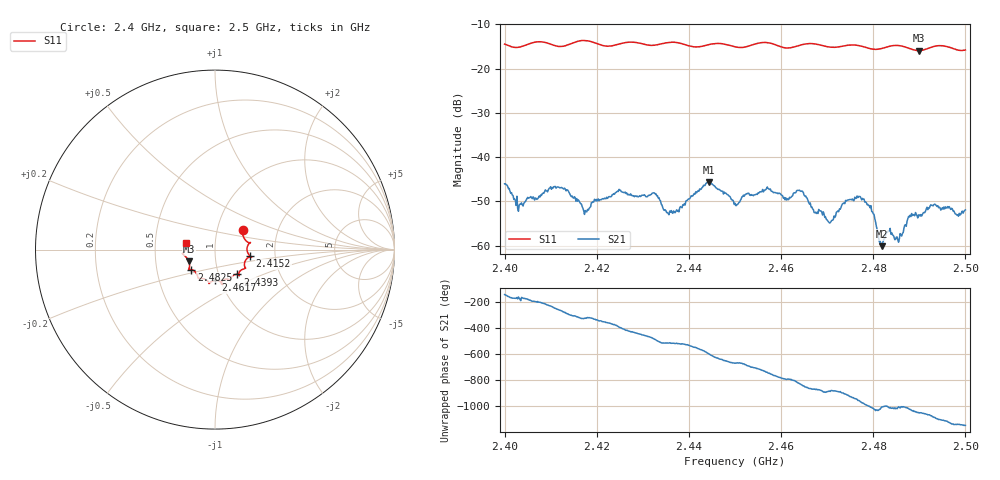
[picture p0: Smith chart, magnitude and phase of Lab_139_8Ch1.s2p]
# Hz S RI R 50
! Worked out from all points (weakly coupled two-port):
!   601 points, 2.4 GHz to 2.5 GHz, reference 50 ohm
!   highest |S21| = -45.67 dB at 2.4443 GHz (marker M1); lowest = -60.1 dB at 2.4818 GHz (marker M2)
!   lowest |S11| = -15.9 dB at 2.4898 GHz (marker M3), VSWR 1.38, Z = 36.9 - j4.91 ohm
!   |S11| at or under -10 dB: start of sweep to end of sweep
!   S12 and S22 are empty: the file has one direction only
!   S11 on the Smith chart (normalised r, x): 2.4 GHz: 1.33, +0.30; 2.4152 GHz: 1.48, -0.11; 2.4393 GHz: 1.23, -0.35; 2.4617 GHz: 0.95, -0.33; 2.4825 GHz: 0.75, -0.17; 2.5 GHz: 0.72, +0.05
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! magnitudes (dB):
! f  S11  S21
! 2.4 GHz  -14.4  -46.0
! 2.4033 GHz  -15.1  -50.6
! 2.4105 GHz  -14.6  -47.0
! 2.4152 GHz  -14.0  -49.0
! 2.4167 GHz  -13.6  -50.6
! 2.4333 GHz  -14.5  -49.2
! 2.4355 GHz  -14.1  -52.7
! 2.4393 GHz  -14.6  -49.9
! 2.4443 GHz  -14.5  -45.7
! 2.45 GHz  -15.0  -50.4
! 2.4572 GHz  -14.1  -47.1
! 2.4617 GHz  -15.3  -49.6
! 2.4642 GHz  -14.7  -47.7
! 2.4667 GHz  -14.3  -51.2
! 2.4707 GHz  -15.1  -54.8
! 2.4773 GHz  -14.9  -49.2
! 2.4818 GHz  -15.4  -60.1
! 2.4825 GHz  -15.2  -58.4
! 2.4833 GHz  -15.0  -56.8
! 2.4852 GHz  -14.7  -58.0
! 2.4898 GHz  -15.9  -53.1
! 2.5 GHz  -15.8  -51.9
